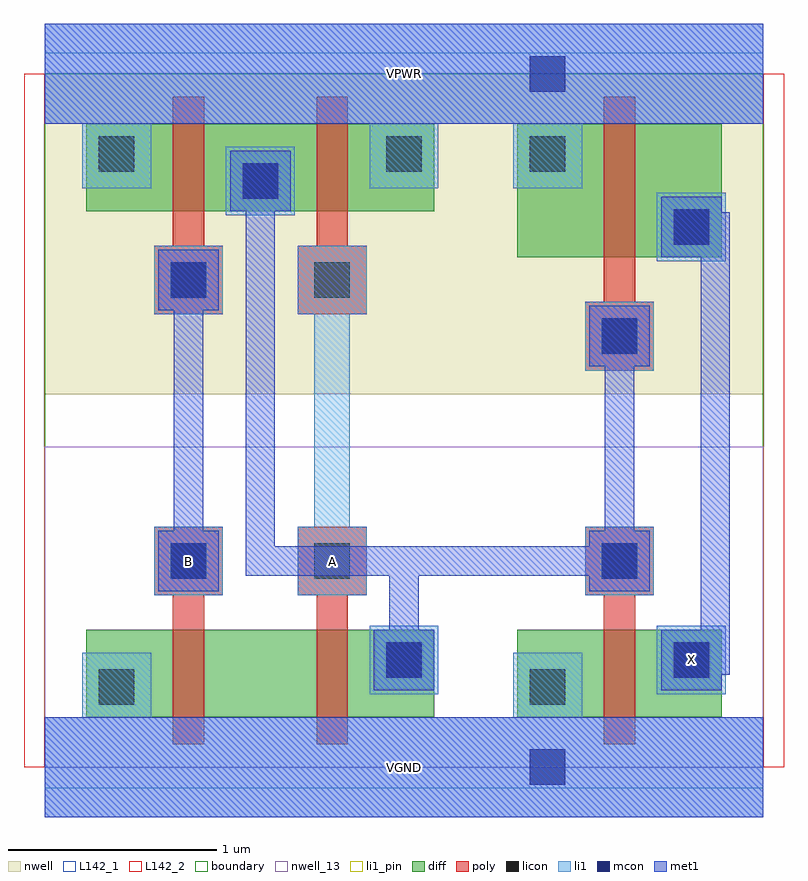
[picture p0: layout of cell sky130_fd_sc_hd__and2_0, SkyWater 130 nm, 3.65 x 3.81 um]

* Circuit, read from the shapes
.subckt sky130_fd_sc_hd__and2_0 A B VGND VPWR X
XM1 n1 B VGND VSUBS sky130_fd_pr__nfet_01v8 w=0.42 l=0.15
XM2 n2 A n1 VSUBS sky130_fd_pr__nfet_01v8 w=0.42 l=0.15
XM3 X n2 VGND VSUBS sky130_fd_pr__nfet_01v8 w=0.42 l=0.15
XM4 n2 B VPWR n3 sky130_fd_pr__pfet_01v8 w=0.42 l=0.15
XM5 VPWR A n2 n3 sky130_fd_pr__pfet_01v8 w=0.42 l=0.15
XM6 X n2 VPWR n3 sky130_fd_pr__pfet_01v8 w=0.64 l=0.15
.ends

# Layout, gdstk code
import gdstk
lib = gdstk.Library(unit=1e-6, precision=1e-09)
def R(c, l, rs):  # rectangles x0, y0, x1, y1
    for r in rs: c.add(gdstk.rectangle(r[:2], r[2:], *l))
def P(c, l, *ps):  # polygons
    for p in ps: c.add(gdstk.Polygon(p, *l))
nwell_13 = (64, 13)
nwell = (64, 20)
diff = (65, 20)
poly = (66, 20)
licon = (66, 44)
li1_pin = (67, 16)
li1 = (67, 20)
mcon = (67, 44)
met1 = (68, 20)
L142_1 = (142, 1)
L142_2 = (142, 2)
boundary = (235, 4)

sky130_fd_sc_hd__and2_0 = lib.new_cell('sky130_fd_sc_hd__and2_0')
R(sky130_fd_sc_hd__and2_0, nwell_13, [(0,0,3.45,1.54)])
R(sky130_fd_sc_hd__and2_0, nwell, [(0,1.79,3.45,3.33)])
R(sky130_fd_sc_hd__and2_0, diff, [(0.2,0.24,1.87,0.66), (0.2,0.24,0.615,0.66), (0.615,0.24,1.305,0.66), (1.305,0.24,1.87,0.66), (2.27,0.24,3.25,0.66), (2.27,0.24,2.685,0.66), (2.685,0.24,3.25,0.66), (2.27,2.45,3.25,3.09), (2.27,2.45,2.685,3.09), (2.685,2.45,3.25,3.09), (0.2,2.67,1.87,3.09), (0.2,2.67,0.615,3.09), (0.615,2.67,1.305,3.09), (1.305,2.67,1.87,3.09)])
P(sky130_fd_sc_hd__and2_0, poly, [(0.615,0.11),(0.615,0.825),(0.525,0.825),(0.525,1.155),(0.855,1.155),(0.855,0.825),(0.765,0.825),(0.765,0.11)],
  [(0.525,2.175),(0.525,2.505),(0.615,2.505),(0.615,3.22),(0.765,3.22),(0.765,2.505),(0.855,2.505),(0.855,2.175)],
  [(2.685,0.11),(2.685,0.825),(2.595,0.825),(2.595,1.155),(2.925,1.155),(2.925,0.825),(2.835,0.825),(2.835,0.11)],
  [(2.595,1.905),(2.595,2.235),(2.685,2.235),(2.685,3.22),(2.835,3.22),(2.835,2.235),(2.925,2.235),(2.925,1.905)],
  [(1.305,0.11),(1.305,0.825),(1.215,0.825),(1.215,1.155),(1.545,1.155),(1.545,0.825),(1.455,0.825),(1.455,0.11)],
  [(1.215,2.175),(1.215,2.505),(1.305,2.505),(1.305,3.22),(1.455,3.22),(1.455,2.505),(1.545,2.505),(1.545,2.175)])
R(sky130_fd_sc_hd__and2_0, licon, [(0.26,0.3,0.43,0.47), (2.33,0.3,2.5,0.47), (1.64,0.43,1.81,0.6), (3.02,0.43,3.19,0.6), (0.605,0.905,0.775,1.075), (1.295,0.905,1.465,1.075), (2.675,0.905,2.845,1.075), (2.675,1.985,2.845,2.155), (0.605,2.255,0.775,2.425), (1.295,2.255,1.465,2.425), (3.02,2.51,3.19,2.68), (0.95,2.73,1.12,2.9), (0.26,2.86,0.43,3.03), (1.64,2.86,1.81,3.03), (2.33,2.86,2.5,3.03)])
R(sky130_fd_sc_hd__and2_0, li1_pin, [(0,-0.24,3.45,0.24), (2.94,0.35,3.27,0.68), (0.525,0.825,0.855,1.155), (0,3.09,3.45,3.57)])
P(sky130_fd_sc_hd__and2_0, li1_pin, [(1.215,0.825),(1.215,1.155),(1.295,1.155),(1.295,2.175),(1.215,2.175),(1.215,2.505),(1.545,2.505),(1.545,2.175),(1.465,2.175),(1.465,1.155),(1.545,1.155),(1.545,0.825)])
R(sky130_fd_sc_hd__and2_0, li1, [(1.56,0.35,1.89,0.68), (2.94,0.35,3.27,0.68), (0.525,0.825,0.855,1.155), (2.595,0.825,2.925,1.155), (2.595,1.905,2.925,2.235), (0.525,2.175,0.855,2.505), (2.94,2.43,3.27,2.76), (0.87,2.65,1.2,2.98)])
P(sky130_fd_sc_hd__and2_0, li1, [(0.18,2.78),(0.18,3.09),(0,3.09),(0,3.57),(3.45,3.57),(3.45,3.09),(2.58,3.09),(2.58,2.78),(2.25,2.78),(2.25,3.09),(1.89,3.09),(1.89,2.78),(1.56,2.78),(1.56,3.09),(0.51,3.09),(0.51,2.78)],
  [(0,-0.24),(0,0.24),(0.18,0.24),(0.18,0.55),(0.51,0.55),(0.51,0.24),(2.25,0.24),(2.25,0.55),(2.58,0.55),(2.58,0.24),(3.45,0.24),(3.45,-0.24)],
  [(1.215,0.825),(1.215,1.155),(1.295,1.155),(1.295,2.175),(1.215,2.175),(1.215,2.505),(1.545,2.505),(1.545,2.175),(1.465,2.175),(1.465,1.155),(1.545,1.155),(1.545,0.825)])
R(sky130_fd_sc_hd__and2_0, mcon, [(2.33,-0.085,2.5,0.085), (1.64,0.43,1.81,0.6), (3.02,0.43,3.19,0.6), (0.605,0.905,0.775,1.075), (2.675,0.905,2.845,1.075), (2.675,1.985,2.845,2.155), (0.605,2.255,0.775,2.425), (3.02,2.51,3.19,2.68), (0.95,2.73,1.12,2.9), (2.33,3.245,2.5,3.415)])
R(sky130_fd_sc_hd__and2_0, met1, [(0,-0.24,3.45,0.24), (0,3.09,3.45,3.57)])
P(sky130_fd_sc_hd__and2_0, met1, [(0.545,0.845),(0.545,1.135),(0.62,1.135),(0.62,2.195),(0.545,2.195),(0.545,2.485),(0.835,2.485),(0.835,2.195),(0.76,2.195),(0.76,1.135),(0.835,1.135),(0.835,0.845)],
  [(1.58,0.37),(1.58,0.66),(1.655,0.66),(1.655,0.92),(0.965,0.92),(0.965,2.67),(0.89,2.67),(0.89,2.96),(1.18,2.96),(1.18,2.67),(1.105,2.67),(1.105,1.06),(2.615,1.06),(2.615,1.135),(2.69,1.135),(2.69,1.925),(2.615,1.925),(2.615,2.215),(2.905,2.215),(2.905,1.925),(2.83,1.925),(2.83,1.135),(2.905,1.135),(2.905,0.845),(2.615,0.845),(2.615,0.92),(1.795,0.92),(1.795,0.66),(1.87,0.66),(1.87,0.37)],
  [(2.96,0.37),(2.96,0.66),(3.15,0.66),(3.15,2.45),(2.96,2.45),(2.96,2.74),(3.25,2.74),(3.25,2.665),(3.29,2.665),(3.29,0.445),(3.25,0.445),(3.25,0.37)])
R(sky130_fd_sc_hd__and2_0, L142_1, [(0,-0.1,3.45,0), (0,3.33,3.45,3.43)])
R(sky130_fd_sc_hd__and2_0, L142_2, [(-0.1,0,0,3.33), (3.45,0,3.55,3.33)])
R(sky130_fd_sc_hd__and2_0, boundary, [(0,0,3.45,3.33)])
sky130_fd_sc_hd__and2_0.add(gdstk.Label('X', (3.105,0.515), layer=67, texttype=5))
sky130_fd_sc_hd__and2_0.add(gdstk.Label('B', (0.69,0.99), layer=67, texttype=5))
sky130_fd_sc_hd__and2_0.add(gdstk.Label('A', (1.38,0.99), layer=67, texttype=5))
sky130_fd_sc_hd__and2_0.add(gdstk.Label('VGND', (1.725,0), layer=67, texttype=5))
sky130_fd_sc_hd__and2_0.add(gdstk.Label('VPWR', (1.725,3.33), layer=67, texttype=5))
sky130_fd_sc_hd__and2_0.add(gdstk.Label('VGND', (1.725,0), layer=68, texttype=5))
sky130_fd_sc_hd__and2_0.add(gdstk.Label('VPWR', (1.725,3.33), layer=68, texttype=5))

lib.write_gds('sky130_fd_sc_hd__and2_0.gds')
